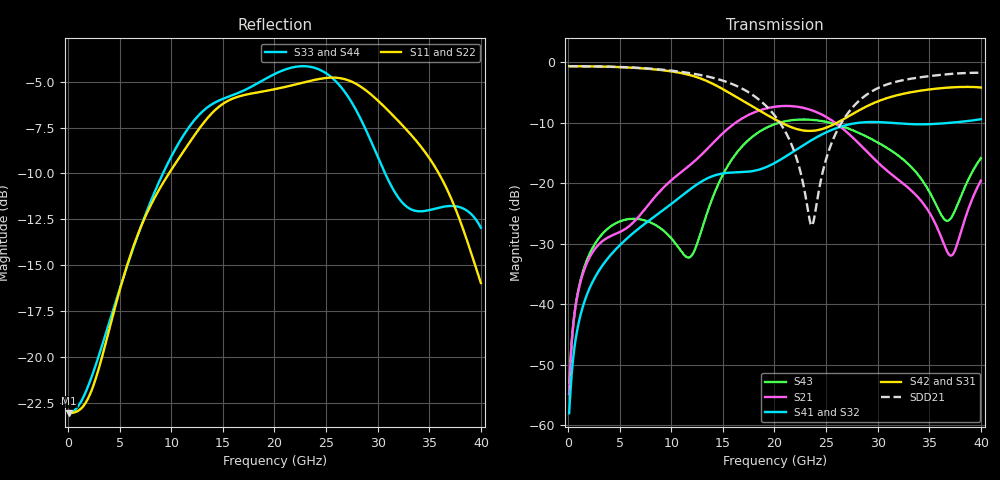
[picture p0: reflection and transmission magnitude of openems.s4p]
! E_s8_L1L3_p1000_oval_g2: pair L1→L3, pitch 1 mm, one oval antipad, 2 GND vias
! stackup: 8-layer 1.6 mm FR-4 (generic)
! ports: 1 P near, 2 N near, 3 P far, 4 N far
! openEMS 0.37.0, staircase, fine mesh (dfine 0.0175 mm), 1729728 cells
# Hz S RI R 50
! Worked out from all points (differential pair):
!   400 points, 100 MHz to 40 GHz, reference 50 ohm
!   strongest paths, dB at 100 MHz, 10.1 GHz, 20.1 GHz, 30.1 GHz, 40 GHz:
!     S42: -0.6, -1.5, -9.5, -6.4, -4.2
!     S31: -0.6, -1.5, -9.5, -6.4, -4.2
!     S41: -58.1, -23.3, -16.6, -9.9, -9.4
!     S32: -58.1, -23.3, -16.6, -9.9, -9.4
!     S21: -54.9, -19.4, -7.3, -16.7, -19.6
!     S43: -54.8, -29.3, -10.2, -13.3, -15.8
!   taken as a pair (ports 2,1 in; 4,3 out), SDD21 dB: -0.6, -1.4, -9.0, -4.2, -1.7
!   lowest |S11| = -23.1 dB at 100 MHz (marker M1), VSWR 1.15, Z = 43.4 + j0.022 ohm
!   |S11| at or under -10 dB: start of sweep to 9.772 GHz; 35.93 GHz to end of sweep
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1e8  -0.0702 0.000252  0.00127 0.00128  0.9289 -0.0348  0.00101 -0.000747
     0.00127 0.00128  -0.0702 0.000252  0.00101 -0.000747  0.9289 -0.0348
     0.9289 -0.0348  0.001 -0.000745  -0.0701 0.00026  0.00126 0.0013
     0.001 -0.000745  0.9289 -0.0348  0.00126 0.0013  -0.0701 0.00026
4.1e9  -0.1183 0.0305  0.0363 0.00361  0.0324 -0.9177  -0.0253 0.000869
       0.0363 0.00361  -0.1183 0.0305  -0.0253 0.000869  0.0324 -0.9177
       0.0326 -0.9177  -0.0253 0.000865  -0.1141 0.0556  0.0438 -0.00127
       -0.0253 0.000865  0.0326 -0.9177  0.0438 -0.00127  -0.1141 0.0556
8.1e9  -0.00295 0.2621  0.0585 -0.0413  -0.8754 -0.0735  0.000585 0.051
       0.0585 -0.0413  -0.00295 0.2621  0.000585 0.051  -0.8754 -0.0735
       -0.8759 -0.0736  0.00059 0.051  -0.00715 0.2691  -0.00491 -0.0466
       0.00059 0.051  -0.8759 -0.0736  -0.00491 -0.0466  -0.00715 0.2691
1.51e10  0.1204 -0.4768  -0.2631 -0.0228  0.5258 0.2779  -0.0655 -0.102
         -0.2631 -0.0228  0.1204 -0.4768  -0.0655 -0.102  0.5258 0.2779
         0.5245 0.277  -0.0654 -0.1017  0.1127 -0.494  -0.1167 0.0361
         -0.0654 -0.1017  0.5245 0.277  -0.1167 0.0361  0.1127 -0.494
2.23e10  -0.2653 0.4878  0.4195 -0.0861  0.0125 -0.2774  0.1025 -0.1641
         0.4195 -0.0861  -0.2653 0.4878  0.1025 -0.1641  0.0125 -0.2774
         0.0123 -0.2784  0.1028 -0.1647  -0.0423 0.6179  0.2571 -0.2159
         0.1028 -0.1647  0.0123 -0.2784  0.2571 -0.2159  -0.0423 0.6179
3.37e10  -0.3002 -0.2477  -0.0237 0.0764  0.0932 0.5671  0.2651 -0.1557
         -0.0237 0.0764  -0.3002 -0.2477  0.2651 -0.1557  0.0932 0.5671
         0.0918 0.5675  0.2655 -0.155  -0.2422 0.0618  0.1236 -0.00586
         0.2655 -0.155  0.0918 0.5675  0.1236 -0.00586  -0.2422 0.0618
4e10  0.0182 0.158  -0.024 0.1024  0.3258 -0.5281  -0.3367 -0.0419
      -0.024 0.1024  0.0182 0.158  -0.3367 -0.0419  0.3258 -0.5281
      0.3239 -0.528  -0.3361 -0.0409  0.1769 0.139  0.1535 -0.0502
      -0.3361 -0.0409  0.3239 -0.528  0.1535 -0.0502  0.1769 0.139
